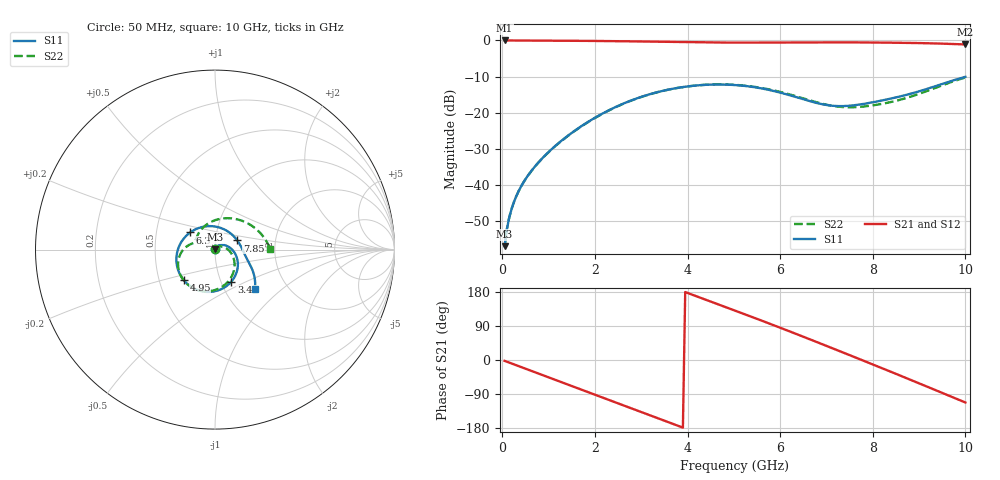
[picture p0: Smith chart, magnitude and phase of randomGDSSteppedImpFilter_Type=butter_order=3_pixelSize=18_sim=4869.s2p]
! freq	dB(S11)	phase(S11)	dB(S12)	phase(S12)
!  dB(S21)	phase(S21)	dB(S22)	phase(S22)
!S-par simulation data
#  GHz  S  DB  R 50
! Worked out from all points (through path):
!   200 points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, 50 MHz to 10 GHz, reference 50 ohm
!   highest |S21| = 0.00 dB at 50 MHz (marker M1); lowest = -1.1 dB at 10 GHz (marker M2)
!   group delay of S21, straight-line fit = 130 ps
!   lowest |S11| = -56.9 dB at 50 MHz (marker M3), VSWR 1.00, Z = 50 + j0.137 ohm
!   |S11| at or under -10 dB: start of sweep to end of sweep
!   |S22| runs from -56.9 to -10.2 dB; largest |S21 - S12| = 0
!   S11 on the Smith chart (normalised r, x): 50 MHz: 1.00, +0.00; 3.45 GHz: 1.12, -0.42; 4.95 GHz: 0.67, -0.24; 6.3 GHz: 0.74, +0.15; 7.85 GHz: 1.28, +0.13; 10 GHz: 1.38, -0.68
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0.05  -56.88 72.7  -0.00 -2.3  -0.00 -2.3  -56.88 73.2
0.1  -52.08 74.3  -0.01 -4.6  -0.01 -4.6  -52.02 72.9
0.2  -46.63 75.9  -0.02 -9.2  -0.02 -9.2  -46.61 72.5
0.5  -38.36 69.6  -0.04 -22.9  -0.04 -22.9  -38.39 61.6
1.15  -29.09 44.9  -0.07 -52.5  -0.07 -52.5  -29.16 31.1
1.75  -23.34 18.1  -0.11 -80.0  -0.11 -80.0  -23.41 3.5
2.5  -18.09 -17.2  -0.20 -114.4  -0.20 -114.4  -18.15 -30.1
3.4  -14.13 -60.4  -0.37 -155.7  -0.37 -155.7  -14.15 -69.7
3.45  -13.98 -62.8  -0.38 -158.0  -0.38 -158.0  -14.00 -71.9
4.2  -12.44 -98.8  -0.52 167.9  -0.52 167.9  -12.43 -103.8
4.95  -12.27 -135.8  -0.60 133.9  -0.60 133.9  -12.22 -134.3
5.05  -12.36 -140.9  -0.60 129.3  -0.60 129.3  -12.29 -138.2
5.7  -13.52 -176.3  -0.58 99.3  -0.58 99.3  -13.37 -162.6
6.3  -15.49 145.4  -0.53 71.0  -0.53 71.0  -15.26 178.5
6.7  -17.00 114.6  -0.51 51.8  -0.51 51.8  -16.78 169.3
7.3  -18.16 62.6  -0.52 22.7  -0.52 22.7  -18.36 159.9
7.85  -17.44 22.2  -0.55 -4.3  -0.55 -4.3  -18.20 145.4
8.35  -16.19 -1.6  -0.61 -29.0  -0.61 -29.0  -17.14 119.6
8.8  -14.80 -15.1  -0.68 -51.5  -0.68 -51.5  -15.62 88.0
9.2  -13.28 -24.2  -0.78 -71.7  -0.78 -71.7  -13.84 57.6
9.6  -11.61 -33.7  -0.92 -91.9  -0.92 -91.9  -11.93 28.1
10  -10.06 -45.0  -1.11 -112.1  -1.11 -112.1  -10.24 0.6
